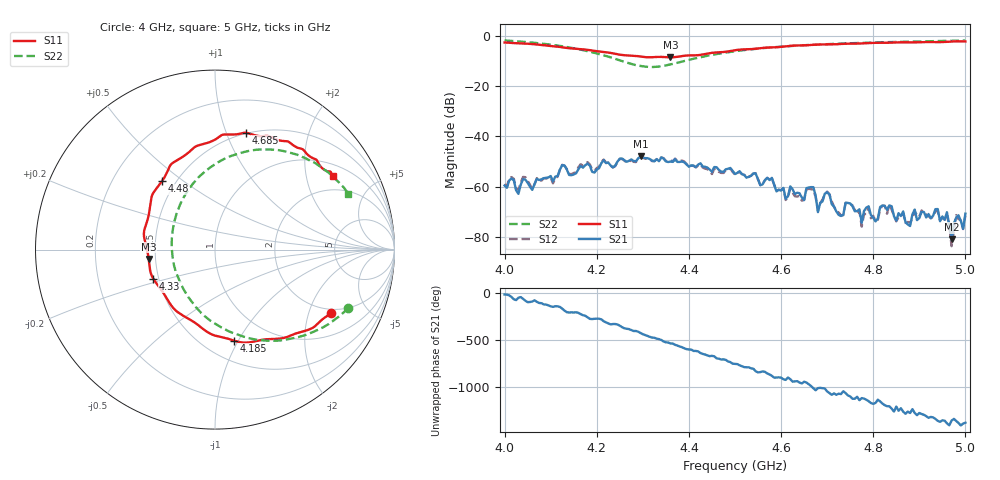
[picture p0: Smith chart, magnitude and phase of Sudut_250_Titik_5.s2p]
# Hz S RI R 50
! CMT, C1220, 16058040, 17.2.0/1
! Date: 15/08/2018 12:22:42
! Data: Format (Calibration Info)
! Freq  S11: Re/Im (F2)  S21: Re/Im (F2)  S12: Re/Im (F2)  S22: Re/Im (F2)
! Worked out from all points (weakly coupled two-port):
!   201 points, 4 GHz to 5 GHz, reference 50 ohm
!   highest |S21| = -48.04 dB at 4.295 GHz (marker M1); lowest = -81.0 dB at 4.97 GHz (marker M2)
!   lowest |S11| = -8.6 dB at 4.36 GHz (marker M3), VSWR 2.19, Z = 22.9 - j2.75 ohm
!   |S11| at or under -10 dB: nowhere
!   |S22| runs from -12.4 to -1.8 dB; largest |S21 - S12| = 0.00027
!   S11 on the Smith chart (normalised r, x): 4 GHz: 1.84, -2.85; 4.185 GHz: 0.69, -0.96; 4.33 GHz: 0.47, -0.18; 4.48 GHz: 0.42, +0.42; 4.685 GHz: 0.49, +1.17; 5 GHz: 1.40, +2.86
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4e9  0.649 -0.3525  0.000981 -0.000369  0.00105 -0.000339  0.742 -0.3248
4.17e9  0.1547 -0.5177  -0.0012 0.00205  -0.00139 0.00221  0.175 -0.4894
4.185e9  0.1078 -0.5078  0.000384 0.00258  0.000373 0.00273  0.1149 -0.4692
4.295e9  -0.2575 -0.2902  0.00149 -0.00367  0.00153 -0.00359  -0.2173 -0.1262
4.33e9  -0.3436 -0.1624  -0.00214 -0.00275  -0.00213 -0.0028  -0.2413 0.0227
4.335e9  -0.3517 -0.1471  -0.0022 -0.00231  -0.00226 -0.00244  -0.2409 0.0438
4.36e9  -0.3693 -0.0517  -0.00313 -5.14e-05  -0.00329 -3.42e-05  -0.2292 0.1424
4.48e9  -0.2954 0.3817  0.00219 0.000248  0.00209 0.000306  -0.0163 0.4648
4.5e9  -0.2592 0.448  0.00144 -0.00103  0.00146 -0.000941  0.0293 0.4937
4.58e9  -0.0825 0.5835  -0.00142 -0.000445  -0.00142 -0.000379  0.2051 0.5527
4.61e9  0.00879 0.6178  -0.000516 0.000248  -0.000444 0.000306  0.2656 0.5583
4.67e9  0.1441 0.647  0.000392 0.000887  0.000314 0.000805  0.3744 0.5504
4.685e9  0.171 0.6513  0.000161 0.000444  7.41e-05 0.000459  0.4003 0.5446
4.75e9  0.3074 0.629  0.000429 -0.000163  0.000413 -0.000189  0.4964 0.5121
4.775e9  0.3624 0.6074  0.000148 -0.000119  0.000115 -0.000109  0.5296 0.4955
4.835e9  0.4579 0.5684  -0.000244 -0.000343  -0.000248 -0.000368  0.5995 0.4531
4.88e9  0.5131 0.5318  -0.000156 4.75e-05  -0.000188 2.98e-05  0.6449 0.4176
4.89e9  0.5306 0.5176  -0.000334 9.77e-05  -0.000323 2.55e-05  0.6546 0.4097
4.96e9  0.6236 0.4375  0.000183 0.000247  0.000164 0.000206  0.7139 0.3495
4.97e9  0.6369 0.4354  1.21e-05 8.81e-05  1.83e-05 6.22e-05  0.7209 0.3413
4.98e9  0.6437 0.4338  4.43e-05 0.000235  7.74e-05 0.000258  0.7278 0.3315
5e9  0.6557 0.4105  0.000143 0.00025  0.000125 0.000231  0.7433 0.3123
